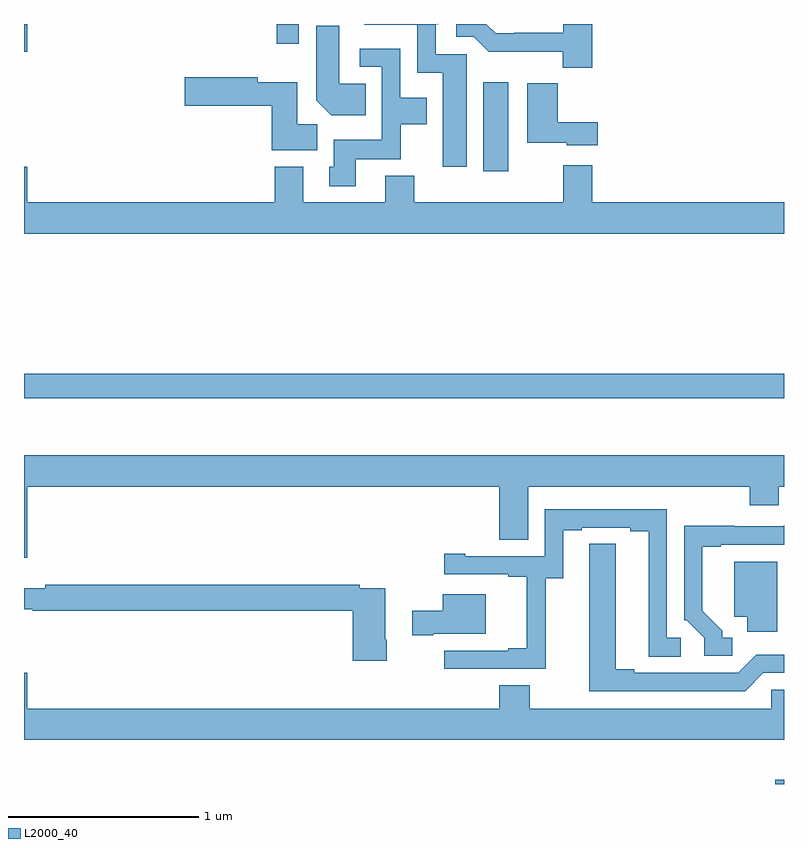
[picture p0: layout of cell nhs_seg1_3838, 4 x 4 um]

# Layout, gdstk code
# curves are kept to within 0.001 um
import gdstk
lib = gdstk.Library(unit=1e-6, precision=1e-09)
def R(c, l, rs):  # rectangles x0, y0, x1, y1
    for r in rs: c.add(gdstk.rectangle(r[:2], r[2:], *l))
def P(c, l, *ps):  # polygons
    for p in ps: c.add(gdstk.Polygon(p, *l))
L2000_40 = (2000, 40)

nhs_seg1_3838 = lib.new_cell('nhs_seg1_3838')
R(nhs_seg1_3838, L2000_40, [(324.955,518.199,325,518.221), (321,520.23,325,520.358), (323.417,521.424,323.548,521.893), (321,522.054,321.016,522.199), (322.33,522.096,322.446,522.199)])
P(nhs_seg1_3838, L2000_40, [(323.99,522.199),(323.837,522.199),(323.837,522.153),(323.581,522.153),(323.581,522.15),(323.482,522.15),(323.433,522.199),(323.274,522.199),(323.274,522.132),(323.367,522.132),(323.446,522.054),(323.835,522.054),(323.835,521.969),(323.99,521.969)],
  [(323.329,522.039),(323.166,522.039),(323.166,522.198),(323.179,522.198),(323.179,522.199),(322.791,522.199),(322.791,522.194),(323.07,522.194),(323.07,521.942),(323.204,521.942),(323.204,521.448),(323.329,521.448)],
  [(322.799,521.884),(322.66,521.884),(322.66,522.19),(322.538,522.19),(322.538,521.798),(322.616,521.72),(322.799,521.72)],
  [(322.747,521.486),(322.983,521.486),(322.983,521.672),(323.119,521.672),(323.119,521.812),(322.98,521.812),(322.98,522.069),(322.767,522.069),(322.767,521.973),(322.884,521.973),(322.884,521.59),(322.631,521.59),(322.631,521.448),(322.607,521.448),(322.607,521.346),(322.747,521.346)],
  [(322.543,521.672),(322.438,521.672),(322.438,521.893),(322.23,521.893),(322.23,521.918),(321.846,521.918),(321.846,521.77),(322.304,521.77),(322.304,521.534),(322.543,521.534)],
  [(324.019,521.683),(323.81,521.683),(323.81,521.887),(323.648,521.887),(323.648,521.573),(323.856,521.573),(323.856,521.561),(324.019,521.561)],
  [(325,521.26),(323.99,521.26),(323.99,521.455),(323.837,521.455),(323.837,521.26),(323.054,521.26),(323.054,521.401),(322.901,521.401),(322.901,521.26),(322.471,521.26),(322.471,521.449),(322.319,521.449),(322.319,521.26),(321.016,521.26),(321.016,521.449),(321,521.449),(321,521.096),(325,521.096)],
  [(321.016,519.764),(323.501,519.764),(323.501,519.484),(323.653,519.484),(323.653,519.764),(324.821,519.764),(324.821,519.666),(324.972,519.666),(324.972,519.764),(325,519.764),(325,519.928),(321,519.928),(321,519.39),(321.016,519.39)],
  [(323.745,519.283),(323.839,519.283),(323.839,519.534),(323.935,519.534),(323.935,519.549),(324.191,519.549),(324.191,519.529),(324.287,519.529),(324.287,518.869),(324.457,518.869),(324.457,518.97),(324.384,518.97),(324.384,519.645),(323.742,519.645),(323.742,519.399),(323.323,519.399),(323.323,519.412),(323.211,519.412),(323.211,519.303),(323.549,519.303),(323.549,519.291),(323.645,519.291),(323.645,518.914),(323.549,518.914),(323.549,518.901),(323.211,518.901),(323.211,518.805),(323.745,518.805)],
  [(324.727,518.97),(324.676,518.97),(324.676,519.005),(324.571,519.11),(324.571,519.447),(324.667,519.447),(324.667,519.459),(325,519.459),(325,519.562),(324.993,519.555),(324.737,519.555),(324.737,519.557),(324.474,519.557),(324.474,519.06),(324.489,519.06),(324.579,518.97),(324.579,518.874),(324.727,518.874)],
  [(324.891,518.784),(325,518.784),(325,518.88),(324.855,518.88),(324.759,518.784),(324.211,518.784),(324.211,518.804),(324.115,518.804),(324.115,519.464),(323.976,519.464),(323.975,518.688),(324.795,518.688)],
  [(324.964,519.37),(324.737,519.37),(324.737,519.08),(324.806,519.08),(324.806,519),(324.964,519)],
  [(322.908,518.959),(322.9,518.959),(322.9,519.228),(322.766,519.228),(322.766,519.248),(321.112,519.248),(321.112,519.229),(321,519.229),(321,519.12),(321.046,519.12),(321.046,519.112),(322.73,519.112),(322.73,518.847),(322.908,518.847)],
  [(323.155,518.99),(323.431,518.99),(323.431,519.199),(323.204,519.199),(323.204,519.112),(323.043,519.112),(323.043,518.983),(323.155,518.983)],
  [(325,518.694),(324.933,518.694),(324.933,518.596),(323.661,518.596),(323.661,518.72),(323.501,518.72),(323.501,518.596),(321.016,518.596),(321.016,518.785),(321,518.785),(321,518.432),(325,518.432)])

lib.write_gds('nhs_seg1_3838.gds')
